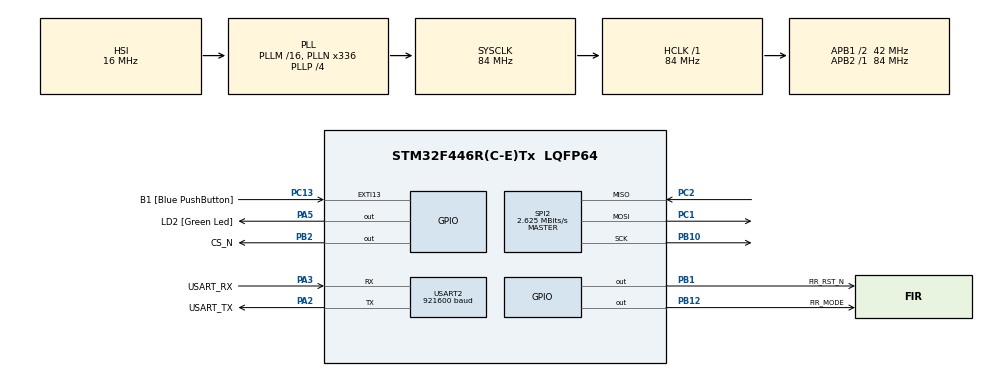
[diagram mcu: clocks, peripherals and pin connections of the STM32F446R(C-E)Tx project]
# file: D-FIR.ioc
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Dma.Request0=SPI2_TX
Dma.Request1=SPI2_RX
Dma.Request2=USART2_TX
Dma.Request3=USART2_RX
Dma.SPI2_RX.1.Direction=DMA_PERIPH_TO_MEMORY
Dma.SPI2_RX.1.FIFOMode=DMA_FIFOMODE_DISABLE
Dma.SPI2_RX.1.Instance=DMA1_Stream3
Dma.SPI2_RX.1.MemDataAlignment=DMA_MDATAALIGN_HALFWORD
Dma.SPI2_RX.1.MemInc=DMA_MINC_ENABLE
Dma.SPI2_RX.1.Mode=DMA_NORMAL
Dma.SPI2_RX.1.PeriphDataAlignment=DMA_PDATAALIGN_HALFWORD
Dma.SPI2_RX.1.PeriphInc=DMA_PINC_DISABLE
Dma.SPI2_RX.1.Priority=DMA_PRIORITY_LOW
Dma.SPI2_TX.0.Direction=DMA_MEMORY_TO_PERIPH
Dma.SPI2_TX.0.FIFOMode=DMA_FIFOMODE_DISABLE
Dma.SPI2_TX.0.Instance=DMA1_Stream4
Dma.SPI2_TX.0.MemDataAlignment=DMA_MDATAALIGN_HALFWORD
Dma.SPI2_TX.0.MemInc=DMA_MINC_ENABLE
Dma.SPI2_TX.0.Mode=DMA_NORMAL
Dma.SPI2_TX.0.PeriphDataAlignment=DMA_PDATAALIGN_HALFWORD
Dma.SPI2_TX.0.PeriphInc=DMA_PINC_DISABLE
Dma.SPI2_TX.0.Priority=DMA_PRIORITY_LOW
Dma.USART2_RX.3.Direction=DMA_PERIPH_TO_MEMORY
Dma.USART2_RX.3.FIFOMode=DMA_FIFOMODE_DISABLE
Dma.USART2_RX.3.Instance=DMA1_Stream5
Dma.USART2_RX.3.MemDataAlignment=DMA_MDATAALIGN_BYTE
Dma.USART2_RX.3.MemInc=DMA_MINC_ENABLE
Dma.USART2_RX.3.Mode=DMA_NORMAL
Dma.USART2_RX.3.PeriphDataAlignment=DMA_PDATAALIGN_BYTE
Dma.USART2_RX.3.PeriphInc=DMA_PINC_DISABLE
Dma.USART2_RX.3.Priority=DMA_PRIORITY_LOW
Dma.USART2_TX.2.Direction=DMA_MEMORY_TO_PERIPH
Dma.USART2_TX.2.FIFOMode=DMA_FIFOMODE_DISABLE
Dma.USART2_TX.2.Instance=DMA1_Stream6
Dma.USART2_TX.2.MemDataAlignment=DMA_MDATAALIGN_BYTE
Dma.USART2_TX.2.MemInc=DMA_MINC_ENABLE
Dma.USART2_TX.2.Mode=DMA_NORMAL
Dma.USART2_TX.2.PeriphDataAlignment=DMA_PDATAALIGN_BYTE
Dma.USART2_TX.2.PeriphInc=DMA_PINC_DISABLE
Dma.USART2_TX.2.Priority=DMA_PRIORITY_LOW
Mcu.Family=STM32F4
Mcu.Name=STM32F446R(C-E)Tx
Mcu.Package=LQFP64
NVIC.DMA1_Stream3_IRQn=true\:0\:0\:false\:false\:true\:false\:true\:true
NVIC.DMA1_Stream4_IRQn=true\:0\:0\:false\:false\:true\:false\:true\:true
NVIC.DMA1_Stream5_IRQn=true\:0\:0\:false\:false\:true\:false\:true\:true
NVIC.DMA1_Stream6_IRQn=true\:0\:0\:false\:false\:true\:false\:true\:true
NVIC.PriorityGroup=NVIC_PRIORITYGROUP_0
NVIC.SPI2_IRQn=true\:0\:0\:false\:false\:true\:true\:true\:true
NVIC.USART2_IRQn=true\:0\:0\:false\:false\:true\:true\:true\:true
PA13.GPIO_Label=TMS
PA13.Signal=SYS_JTMS-SWDIO
PA14.GPIO_Label=TCK
PA14.Signal=SYS_JTCK-SWCLK
PA2.GPIO_Label=USART_TX
PA2.Mode=Asynchronous
PA2.Signal=USART2_TX
PA3.GPIO_Label=USART_RX
PA3.Mode=Asynchronous
PA3.Signal=USART2_RX
PA5.GPIO_Label=LD2 [Green Led]
PA5.Signal=GPIO_Output
PB1.GPIO_Label=FIR_RST_N
PB1.PinState=GPIO_PIN_SET
PB1.Signal=GPIO_Output
PB10.Mode=Full_Duplex_Master
PB10.Signal=SPI2_SCK
PB12.GPIO_Label=FIR_MODE
PB12.PinState=GPIO_PIN_SET
PB12.Signal=GPIO_Output
PB2.GPIO_Label=CS_N
PB2.PinState=GPIO_PIN_SET
PB2.Signal=GPIO_Output
PB3.GPIO_Label=SWO
PB3.Signal=SYS_JTDO-SWO
PC1.Mode=Full_Duplex_Master
PC1.Signal=SPI2_MOSI
PC13.GPIO_Label=B1 [Blue PushButton]
PC13.GPIO_ModeDefaultEXTI=GPIO_MODE_IT_FALLING
PC13.Signal=GPXTI13
PC14-OSC32_IN.Signal=RCC_OSC32_IN
PC15-OSC32_OUT.Signal=RCC_OSC32_OUT
PC2.Mode=Full_Duplex_Master
PC2.Signal=SPI2_MISO
PH0-OSC_IN.Signal=RCC_OSC_IN
PH1-OSC_OUT.Signal=RCC_OSC_OUT
ProjectManager.HeapSize=0x200
ProjectManager.StackSize=0x400
ProjectManager.TargetToolchain=STM32CubeIDE
RCC.AHBFreq_Value=84000000
RCC.APB1CLKDivider=RCC_HCLK_DIV2
RCC.APB1Freq_Value=42000000
RCC.APB1TimFreq_Value=84000000
RCC.APB2Freq_Value=84000000
RCC.APB2TimFreq_Value=84000000
RCC.CortexFreq_Value=84000000
RCC.FLatency-AdvancedSettings=FLASH_LATENCY_2
RCC.HCLKFreq_Value=84000000
RCC.HSE_VALUE=8000000
RCC.HSI_VALUE=16000000
RCC.LSE_VALUE=32768
RCC.PLLN=336
RCC.PLLP=RCC_PLLP_DIV4
RCC.SYSCLKFreq_VALUE=84000000
RCC.SYSCLKSource=RCC_SYSCLKSOURCE_PLLCLK
RCC.USBFreq_Value=168000000
RCC.VCOOutputFreq_Value=336000000
SPI2.BaudRatePrescaler=SPI_BAUDRATEPRESCALER_16
SPI2.CalculateBaudRate=2.625 MBits/s
SPI2.DataSize=SPI_DATASIZE_16BIT
SPI2.Direction=SPI_DIRECTION_2LINES
SPI2.Mode=SPI_MODE_MASTER
SPI2.VirtualType=VM_MASTER
USART2.BaudRate=921600
USART2.VirtualMode=VM_ASYNC
board=NUCLEO-F446RE

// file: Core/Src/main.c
/* USER CODE BEGIN Header */
/**
  ******************************************************************************
  * @file           : main.c
  * @brief          : Main program body
  ******************************************************************************
  * @attention
  *
  * Copyright (c) 2026 STMicroelectronics.
  * All rights reserved.
  *
  * This software is licensed under terms that can be found in the LICENSE file
  * in the root directory of this software component.
  * If no LICENSE file comes with this software, it is provided AS-IS.
  *
  ******************************************************************************
  */
/* USER CODE END Header */
#include "main.h"
#include <string.h>

/* USER CODE BEGIN PD */
#define FIR_STARTUP_LATENCY 2
#define UART_BLOCK_SIZE 256
#define SPI_BLOCK_SIZE 128
/* USER CODE END PD */

SPI_HandleTypeDef hspi2;
DMA_HandleTypeDef hdma_spi2_tx;
DMA_HandleTypeDef hdma_spi2_rx;

UART_HandleTypeDef huart2;
DMA_HandleTypeDef hdma_usart2_tx;
DMA_HandleTypeDef hdma_usart2_rx;

void SystemClock_Config(void);
static void MX_GPIO_Init(void);
static void MX_DMA_Init(void);
static void MX_SPI2_Init(void);
static void MX_USART2_UART_Init(void);

/* USER CODE BEGIN 0 */

typedef enum {
	FIR_COEFF_MODE,
	FIR_SAMPLE_MODE
}fir_state_t;

volatile fir_state_t fir_state = FIR_COEFF_MODE;

// 256 bytes = 128 samples
int8_t uart_tx_buf[UART_BLOCK_SIZE];
int8_t uart_rx_buf[UART_BLOCK_SIZE];

// 128 samples to FIR
int16_t spi_rx_buf[SPI_BLOCK_SIZE];
int16_t spi_tx_buf[SPI_BLOCK_SIZE];

void reset_fpga() {
  HAL_GPIO_WritePin(FIR_RST_N_GPIO_Port, FIR_RST_N_Pin, GPIO_PIN_RESET);
  HAL_Delay(1);
  HAL_GPIO_WritePin(FIR_RST_N_GPIO_Port, FIR_RST_N_Pin, GPIO_PIN_SET);
}

void load_coeffcients() {
	HAL_UART_Receive_DMA(&huart2, (uint8_t*)&uart_rx_buf, UART_BLOCK_SIZE);
}

void spi_transfer_coefficients() {
	HAL_GPIO_WritePin(FIR_MODE_GPIO_Port, FIR_MODE_Pin, GPIO_PIN_RESET);
	for (int i = 0; i < SPI_BLOCK_SIZE; i++) {
		HAL_GPIO_WritePin(CS_N_GPIO_Port, CS_N_Pin, GPIO_PIN_RESET);
		HAL_SPI_TransmitReceive(&hspi2, (uint8_t *)&spi_tx_buf[i], (uint8_t *)&spi_rx_buf[i], 1, HAL_MAX_DELAY);
		HAL_GPIO_WritePin(CS_N_GPIO_Port, CS_N_Pin, GPIO_PIN_SET);
	}
	HAL_GPIO_WritePin(FIR_MODE_GPIO_Port, FIR_MODE_Pin, GPIO_PIN_SET);
	fir_state = FIR_SAMPLE_MODE;
	memcpy(uart_tx_buf, spi_rx_buf, sizeof(uart_tx_buf));
	HAL_UART_Transmit_DMA(&huart2, (uint8_t *)&uart_tx_buf, UART_BLOCK_SIZE);

}

void spi_transfer_samples() {
	HAL_GPIO_WritePin(FIR_MODE_GPIO_Port, FIR_MODE_Pin, GPIO_PIN_SET);
	for (int i = 0; i < SPI_BLOCK_SIZE; i++) {
		HAL_GPIO_WritePin(CS_N_GPIO_Port, CS_N_Pin, GPIO_PIN_RESET);
		HAL_SPI_TransmitReceive(&hspi2, (uint8_t *)&spi_tx_buf[i], (uint8_t *)&spi_rx_buf[i], 1, HAL_MAX_DELAY);
		HAL_GPIO_WritePin(CS_N_GPIO_Port, CS_N_Pin, GPIO_PIN_SET);
	}
	memcpy(uart_tx_buf, spi_rx_buf, sizeof(uart_tx_buf));
	HAL_UART_Transmit_DMA(&huart2, (uint8_t *)&uart_tx_buf, UART_BLOCK_SIZE);
}

/* USER CODE END 0 */

int main(void)
{

  /* MCU Configuration--------------------------------------------------------*/

  /* Reset of all peripherals, Initializes the Flash interface and the Systick. */
  HAL_Init();

  /* Configure the system clock */
  SystemClock_Config();

  /* Initialize all configured peripherals */
  MX_GPIO_Init();
  MX_DMA_Init();
  MX_SPI2_Init();
  MX_USART2_UART_Init();
  /* USER CODE BEGIN 2 */

  reset_fpga();
  load_coeffcients();

  /* USER CODE END 2 */

  /* Infinite loop */
  while (1)
  {

  }
}

void SystemClock_Config(void)
{
  RCC_OscInitTypeDef RCC_OscInitStruct = {0};
  RCC_ClkInitTypeDef RCC_ClkInitStruct = {0};

  /** Configure the main internal regulator output voltage
  */
  __HAL_RCC_PWR_CLK_ENABLE();
  __HAL_PWR_VOLTAGESCALING_CONFIG(PWR_REGULATOR_VOLTAGE_SCALE3);

  /** Initializes the RCC Oscillators according to the specified parameters
  * in the RCC_OscInitTypeDef structure.
  */
  RCC_OscInitStruct.OscillatorType = RCC_OSCILLATORTYPE_HSI;
  RCC_OscInitStruct.HSIState = RCC_HSI_ON;
  RCC_OscInitStruct.HSICalibrationValue = RCC_HSICALIBRATION_DEFAULT;
  RCC_OscInitStruct.PLL.PLLState = RCC_PLL_ON;
  RCC_OscInitStruct.PLL.PLLSource = RCC_PLLSOURCE_HSI;
  RCC_OscInitStruct.PLL.PLLM = 16;
  RCC_OscInitStruct.PLL.PLLN = 336;
  RCC_OscInitStruct.PLL.PLLP = RCC_PLLP_DIV4;
  RCC_OscInitStruct.PLL.PLLQ = 2;
  RCC_OscInitStruct.PLL.PLLR = 2;
  if (HAL_RCC_OscConfig(&RCC_OscInitStruct) != HAL_OK)
  {
    Error_Handler();
  }

  /** Initializes the CPU, AHB and APB buses clocks
  */
  RCC_ClkInitStruct.ClockType = RCC_CLOCKTYPE_HCLK|RCC_CLOCKTYPE_SYSCLK
                              |RCC_CLOCKTYPE_PCLK1|RCC_CLOCKTYPE_PCLK2;
  RCC_ClkInitStruct.SYSCLKSource = RCC_SYSCLKSOURCE_PLLCLK;
  RCC_ClkInitStruct.AHBCLKDivider = RCC_SYSCLK_DIV1;
  RCC_ClkInitStruct.APB1CLKDivider = RCC_HCLK_DIV2;
  RCC_ClkInitStruct.APB2CLKDivider = RCC_HCLK_DIV1;

  if (HAL_RCC_ClockConfig(&RCC_ClkInitStruct, FLASH_LATENCY_2) != HAL_OK)
  {
    Error_Handler();
  }
}

static void MX_SPI2_Init(void)
{

  /* SPI2 parameter configuration*/
  hspi2.Instance = SPI2;
  hspi2.Init.Mode = SPI_MODE_MASTER;
  hspi2.Init.Direction = SPI_DIRECTION_2LINES;
  hspi2.Init.DataSize = SPI_DATASIZE_16BIT;
  hspi2.Init.CLKPolarity = SPI_POLARITY_LOW;
  hspi2.Init.CLKPhase = SPI_PHASE_1EDGE;
  hspi2.Init.NSS = SPI_NSS_SOFT;
  hspi2.Init.BaudRatePrescaler = SPI_BAUDRATEPRESCALER_16;
  hspi2.Init.FirstBit = SPI_FIRSTBIT_MSB;
  hspi2.Init.TIMode = SPI_TIMODE_DISABLE;
  hspi2.Init.CRCCalculation = SPI_CRCCALCULATION_DISABLE;
  hspi2.Init.CRCPolynomial = 10;
  if (HAL_SPI_Init(&hspi2) != HAL_OK)
  {
    Error_Handler();
  }

}

static void MX_USART2_UART_Init(void)
{

  huart2.Instance = USART2;
  huart2.Init.BaudRate = 921600;
  huart2.Init.WordLength = UART_WORDLENGTH_8B;
  huart2.Init.StopBits = UART_STOPBITS_1;
  huart2.Init.Parity = UART_PARITY_NONE;
  huart2.Init.Mode = UART_MODE_TX_RX;
  huart2.Init.HwFlowCtl = UART_HWCONTROL_NONE;
  huart2.Init.OverSampling = UART_OVERSAMPLING_16;
  if (HAL_UART_Init(&huart2) != HAL_OK)
  {
    Error_Handler();
  }

}

static void MX_DMA_Init(void)
{

  /* DMA controller clock enable */
  __HAL_RCC_DMA1_CLK_ENABLE();

  /* DMA interrupt init */
  /* DMA1_Stream3_IRQn interrupt configuration */
  HAL_NVIC_SetPriority(DMA1_Stream3_IRQn, 0, 0);
  HAL_NVIC_EnableIRQ(DMA1_Stream3_IRQn);
  /* DMA1_Stream4_IRQn interrupt configuration */
  HAL_NVIC_SetPriority(DMA1_Stream4_IRQn, 0, 0);
  HAL_NVIC_EnableIRQ(DMA1_Stream4_IRQn);
  /* DMA1_Stream5_IRQn interrupt configuration */
  HAL_NVIC_SetPriority(DMA1_Stream5_IRQn, 0, 0);
  HAL_NVIC_EnableIRQ(DMA1_Stream5_IRQn);
  /* DMA1_Stream6_IRQn interrupt configuration */
  HAL_NVIC_SetPriority(DMA1_Stream6_IRQn, 0, 0);
  HAL_NVIC_EnableIRQ(DMA1_Stream6_IRQn);

}

static void MX_GPIO_Init(void)
{
  GPIO_InitTypeDef GPIO_InitStruct = {0};

  /* GPIO Ports Clock Enable */
  __HAL_RCC_GPIOC_CLK_ENABLE();
  __HAL_RCC_GPIOH_CLK_ENABLE();
  __HAL_RCC_GPIOA_CLK_ENABLE();
  __HAL_RCC_GPIOB_CLK_ENABLE();

  /*Configure GPIO pin Output Level */
  HAL_GPIO_WritePin(LD2_GPIO_Port, LD2_Pin, GPIO_PIN_RESET);

  /*Configure GPIO pin Output Level */
  HAL_GPIO_WritePin(GPIOB, FIR_RST_N_Pin|CS_N_Pin|FIR_MODE_Pin, GPIO_PIN_SET);

  /*Configure GPIO pin : B1_Pin */
  GPIO_InitStruct.Pin = B1_Pin;
  GPIO_InitStruct.Mode = GPIO_MODE_IT_FALLING;
  GPIO_InitStruct.Pull = GPIO_NOPULL;
  HAL_GPIO_Init(B1_GPIO_Port, &GPIO_InitStruct);

  /*Configure GPIO pin : LD2_Pin */
  GPIO_InitStruct.Pin = LD2_Pin;
  GPIO_InitStruct.Mode = GPIO_MODE_OUTPUT_PP;
  GPIO_InitStruct.Pull = GPIO_NOPULL;
  GPIO_InitStruct.Speed = GPIO_SPEED_FREQ_LOW;
  HAL_GPIO_Init(LD2_GPIO_Port, &GPIO_InitStruct);

  /*Configure GPIO pins : FIR_RST_N_Pin CS_N_Pin FIR_MODE_Pin */
  GPIO_InitStruct.Pin = FIR_RST_N_Pin|CS_N_Pin|FIR_MODE_Pin;
  GPIO_InitStruct.Mode = GPIO_MODE_OUTPUT_PP;
  GPIO_InitStruct.Pull = GPIO_NOPULL;
  GPIO_InitStruct.Speed = GPIO_SPEED_FREQ_LOW;
  HAL_GPIO_Init(GPIOB, &GPIO_InitStruct);

}

/* USER CODE BEGIN 4 */
void HAL_UART_RxCpltCallback(UART_HandleTypeDef *huart) {
    if (huart->Instance == USART2) {
    	memcpy(spi_tx_buf, uart_rx_buf, sizeof(spi_tx_buf));
    	if (fir_state == FIR_COEFF_MODE) {
    		spi_transfer_coefficients();
    	} else {
    		spi_transfer_samples();
    	}
    }
}

void HAL_UART_TxCpltCallback(UART_HandleTypeDef *huart) {
    if (huart->Instance == USART2) {
        HAL_UART_Receive_DMA(huart, (uint8_t *)&uart_rx_buf, UART_BLOCK_SIZE);
    }
}

/* USER CODE END 4 */

void Error_Handler(void)
{
  /* USER CODE BEGIN Error_Handler_Debug */
  /* User can add his own implementation to report the HAL error return state */
  __disable_irq();
  while (1)
  {
	  HAL_GPIO_TogglePin(LD2_GPIO_Port, LD2_Pin);
	  HAL_Delay(250);
  }
  /* USER CODE END Error_Handler_Debug */
}
